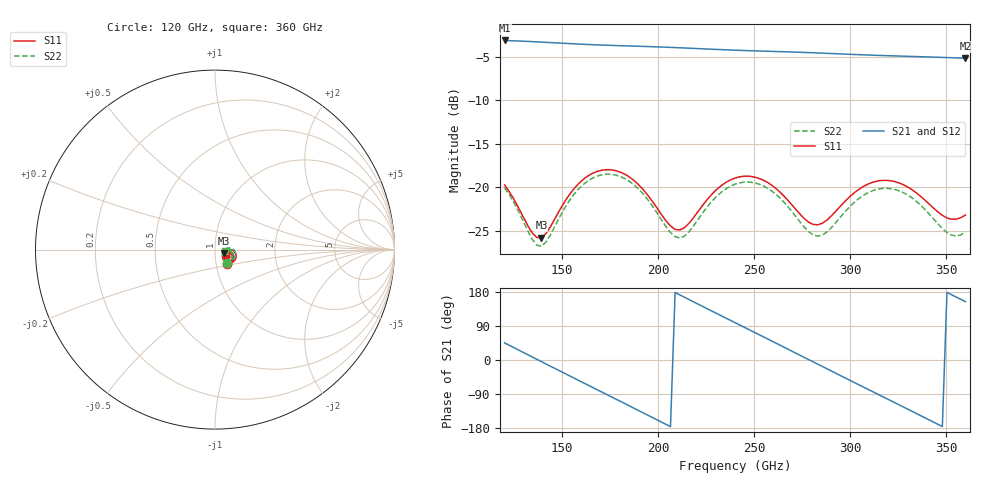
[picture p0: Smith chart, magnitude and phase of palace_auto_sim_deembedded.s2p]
! Created with skrf 1.11.0 (http://scikit-rf.org).
# GHz S DB R 50.0
!freq dBS11 angS11 dBS21 angS21 dBS12 angS12 dBS22 angS22
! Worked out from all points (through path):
!   101 points, 120 GHz to 360 GHz, reference 50 ohm
!   highest |S21| = -3.15 dB at 120 GHz (marker M1); lowest = -5.2 dB at 360 GHz (marker M2)
!   group delay of S21, straight-line fit = 7.07 ps
!   lowest |S11| = -25.8 dB at 139.2 GHz (marker M3), VSWR 1.11, Z = 55 - j2 ohm
!   |S11| at or under -10 dB: start of sweep to end of sweep
!   |S22| runs from -26.8 to -18.5 dB; largest |S21 - S12| = 1.2e-14
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120  -19.76 -49.2  -3.15 45.1  -3.15 45.1  -20.08 -46.9
129.6  -23.39 -49.4  -3.23 20.4  -3.23 20.4  -23.87 -47.8
139.2  -25.82 -20.7  -3.34 -4.3  -3.34 -4.3  -26.80 -17.5
148.8  -22.60 0.1  -3.45 -29.0  -3.45 -29.0  -23.40 6.4
160.8  -19.15 -6.8  -3.58 -59.5  -3.58 -59.5  -19.74 0.0
170.4  -18.07 -19.7  -3.67 -83.9  -3.67 -83.9  -18.60 -12.8
180  -18.26 -33.5  -3.75 -108.3  -3.75 -108.3  -18.77 -26.6
192  -20.25 -46.9  -3.83 -139.0  -3.83 -139.0  -20.75 -40.2
201.6  -23.13 -46.5  -3.90 -163.5  -3.90 -163.5  -23.73 -40.5
211.2  -24.94 -25.9  -3.99 171.9  -3.99 171.9  -25.86 -19.2
218.4  -23.52 -10.8  -4.06 153.5  -4.06 153.5  -24.47 -2.2
230.4  -20.29 -10.4  -4.18 123.0  -4.18 123.0  -21.08 -0.7
240  -18.97 -20.4  -4.26 98.6  -4.26 98.6  -19.67 -10.6
252  -18.96 -35.4  -4.36 68.2  -4.36 68.2  -19.62 -25.8
264  -20.70 -46.5  -4.44 37.7  -4.44 37.7  -21.39 -37.7
280.8  -24.30 -33.9  -4.56 -5.1  -4.56 -5.1  -25.51 -25.5
290.4  -23.27 -17.0  -4.65 -29.6  -4.65 -29.6  -24.61 -5.6
302.4  -20.61 -16.0  -4.76 -60.0  -4.76 -60.0  -21.70 -3.1
321.6  -19.30 -34.8  -4.91 -108.6  -4.91 -108.6  -20.20 -22.6
340.8  -21.89 -46.8  -5.04 -157.2  -5.04 -157.2  -23.01 -36.9
352.8  -23.71 -34.9  -5.13 172.3  -5.13 172.3  -25.53 -24.1
360  -23.22 -24.2  -5.20 154.0  -5.20 154.0  -25.18 -9.8
